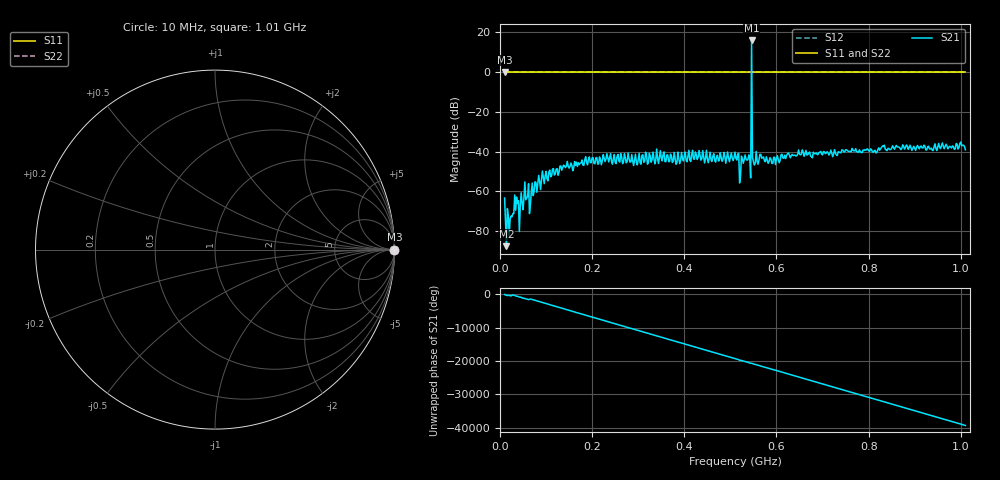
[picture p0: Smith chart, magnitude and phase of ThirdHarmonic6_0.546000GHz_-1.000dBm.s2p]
! 8/15/2025 5:14:03 PM
! C:\ANRITSUVNA\TEMP\TEMP.S2P
! CHANNEL.1
! TR.MEASUREMENT
! RAW.DATA
! RF.CORRECTION.OFF
! AVERAGING.OFF
! IF.BANDWIDTH: 5KHZ
! SWEEPTYPE:  FREQ.SWEEP(Linear)
! Reference Plane Port Info
! PORT:  PORT1  PORT2
! DISTANCE:  0  m  0  m
! TIME:  0  s  0  s
! PHASE.OFFSET:  0  deg.  0  deg.
! LOSS:  0  dB  0  dB
! REF.LOSS:  0  dB  0  dB
! REF.FREQ:  0  Hz  0  Hz
! Power Info
! POWER:  -20  dBm  -20  dBm
! EFF.POWER:  -20  dBm  -20  dBm
! SOURCE.ATTEN:  0  dB  0  dB
! TEST.ATTEN:  0  dB  0  dB
# GHZ S RI R 50.0
! FREQ.GHZ  S11RE  S11IM  S21RE  S21IM  S12RE  S12IM  S22RE  S22IM
!; PortSelection: Port_12
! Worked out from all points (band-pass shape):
!   501 points, 10 MHz to 1.01 GHz, reference 50 ohm
!   highest |S21| = 15.87 dB at 546 MHz (marker M1); lowest = -87.6 dB at 14 MHz (marker M2)
!   |S21| within 3 dB of the highest: 545.9132 MHz to 546.102 MHz (188.8 kHz wide, 0.0346 % of centre)
!   lowest |S11| = 0.0 dB at 10 MHz (marker M3)
!   |S11| at or under -10 dB: nowhere
!   |S22| runs from 0.0 to 0.0 dB; largest |S21 - S12| = 6.5
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0.01  1 0  0.000325 -0.000599  1 0  1 0
0.014  1 0  -1.92e-05 3.72e-05  1 0  1 0
0.024  1 0  -4.23e-05 -0.000235  1 0  1 0
0.036  1 0  -0.000669 0.000259  1 0  1 0
0.046  1 0  -0.000876 0.000288  1 0  1 0
0.05  1 0  -1.18e-05 -0.000347  1 0  1 0
0.068  1 0  0.000963 0.000149  1 0  1 0
0.074  1 0  -0.000111 0.000999  1 0  1 0
0.096  1 0  -9.33e-05 -0.00156  1 0  1 0
0.178  1 0  -0.00582 -0.00198  1 0  1 0
0.344  1 0  0.005 -0.000287  1 0  1 0
0.51  1 0  -0.00961 0.00117  1 0  1 0
0.524  1 0  0.00734 -0.00226  1 0  1 0
0.528  1 0  -0.00501 0.000785  1 0  1 0
0.54  1 0  0.00429 0.00706  1 0  1 0
0.542  1 0  0.00563 -0.00438  1 0  1 0
0.546  1 0  -1.053 -6.123  1 0  1 0
0.55  1 0  0.00559 0.000682  1 0  1 0
0.552  1 0  0.00227 -0.004  1 0  1 0
0.678  1 0  0.00407 -0.00568  1 0  1 0
0.844  1 0  -0.00641 0.0101  1 0  1 0
1.01  1 0  0.00526 -0.00979  1 0  1 0
